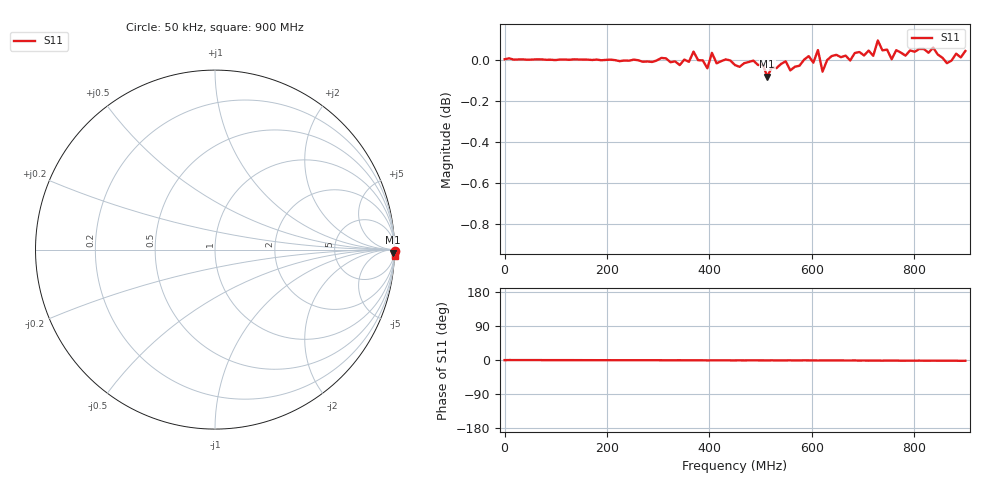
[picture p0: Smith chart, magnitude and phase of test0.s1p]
# HZ S RI R 50
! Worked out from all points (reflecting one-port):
!   101 points, 50 kHz to 900 MHz, reference 50 ohm
!   lowest |S11| = -0.1 dB at 513 MHz (marker M1), VSWR 210.84, Z = 2.28e+03 - j4.34e+03 ohm
!   phase of S11 starts at -0 deg and turns -2 deg over the sweep
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50000  1 -0.00508
1.170435e8  1 -0.00615
2.250375e8  0.9991 -0.00918
3.42031e8  0.9969 -0.0106
3.690295e8  1.004 -0.0131
3.96028e8  0.995 -0.0179
4.050275e8  1.004 -0.0159
4.50025e8  0.9968 -0.0172
4.86023e8  0.9993 -0.0154
5.130215e8  0.9904 -0.0179
5.490195e8  0.9989 -0.0181
5.58019e8  0.9938 -0.0156
5.670185e8  0.9958 -0.0221
5.850175e8  0.9998 -0.0164
6.030165e8  0.9981 -0.0172
6.12016e8  1.005 -0.0235
6.210155e8  0.9931 -0.0191
6.390145e8  1.002 -0.0213
6.750125e8  0.9992 -0.0227
7.110105e8  1.005 -0.0295
7.2001e8  1.002 -0.0255
7.290095e8  1.01 -0.0283
7.56008e8  0.9998 -0.0267
7.92006e8  1.005 -0.0298
8.370035e8  1.006 -0.0306
8.64002e8  0.9975 -0.0324
8.910005e8  1 -0.0391
9e8  1.004 -0.0352
